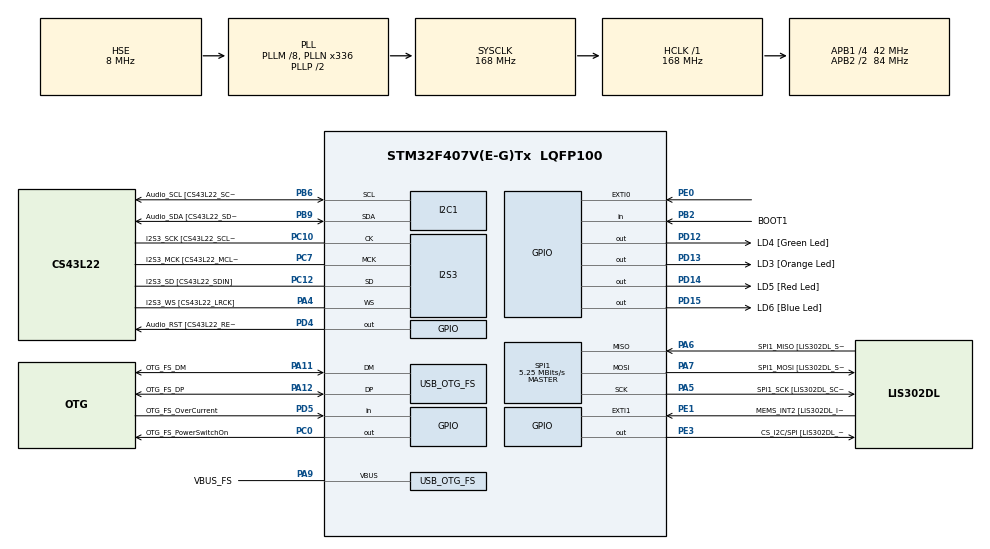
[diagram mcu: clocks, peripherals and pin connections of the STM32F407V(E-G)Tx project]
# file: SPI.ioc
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I2S3.AudioFreq-Half_Duplex_Master=I2S_AUDIOFREQ_96K
I2S3.ErrorAudioFreq=-2.34 %
I2S3.ErrorAudioFreq-Half_Duplex_Master=0.8 %
I2S3.FullDuplexMode=I2S_FULLDUPLEXMODE_DISABLE
I2S3.Instance=SPI$Index
I2S3.RealAudioFreq=93.75 KHz
I2S3.RealAudioFreq-Half_Duplex_Master=96.774 KHz
I2S3.VirtualMode=I2S_MODE_MASTER
Mcu.Family=STM32F4
Mcu.Name=STM32F407V(E-G)Tx
Mcu.Package=LQFP100
NVIC.EXTI0_IRQn=true\:0\:0\:false\:false\:true\:true\:true\:true
NVIC.OTG_FS_IRQn=true\:0\:0\:false\:false\:true\:true\:true\:true
NVIC.PriorityGroup=NVIC_PRIORITYGROUP_0
NVIC.SPI1_IRQn=true\:0\:0\:false\:false\:true\:true\:true\:true
PA10.GPIO_Label=OTG_FS_ID
PA10.GPIO_Mode=GPIO_MODE_AF_PP
PA10.GPIO_PuPd=GPIO_NOPULL
PA10.GPIO_Speed=GPIO_SPEED_FREQ_LOW
PA10.Signal=USB_OTG_FS_ID
PA11.GPIO_Label=OTG_FS_DM
PA11.GPIO_Mode=GPIO_MODE_AF_PP
PA11.GPIO_PuPd=GPIO_NOPULL
PA11.GPIO_Speed=GPIO_SPEED_FREQ_LOW
PA11.Mode=Host_Only
PA11.Signal=USB_OTG_FS_DM
PA12.GPIO_Label=OTG_FS_DP
PA12.GPIO_Mode=GPIO_MODE_AF_PP
PA12.GPIO_PuPd=GPIO_NOPULL
PA12.GPIO_Speed=GPIO_SPEED_FREQ_LOW
PA12.Mode=Host_Only
PA12.Signal=USB_OTG_FS_DP
PA13.GPIO_Label=SWDIO
PA13.Mode=Serial_Wire
PA13.Signal=SYS_JTMS-SWDIO
PA14.GPIO_Label=SWCLK
PA14.Mode=Serial_Wire
PA14.Signal=SYS_JTCK-SWCLK
PA4.GPIO_Label=I2S3_WS [CS43L22_LRCK]
PA4.GPIO_Mode=GPIO_MODE_AF_PP
PA4.GPIO_PuPd=GPIO_NOPULL
PA4.GPIO_Speed=GPIO_SPEED_FREQ_LOW
PA4.Mode=Half_Duplex_Master
PA4.Signal=I2S3_WS
PA5.GPIO_Label=SPI1_SCK [LIS302DL_SCL/SPC]
PA5.GPIO_Mode=GPIO_MODE_AF_PP
PA5.GPIO_PuPd=GPIO_NOPULL
PA5.GPIO_Speed=GPIO_SPEED_FREQ_LOW
PA5.Mode=Full_Duplex_Master
PA5.Signal=SPI1_SCK
PA6.GPIO_Label=SPI1_MISO [LIS302DL_SDO]
PA6.GPIO_Mode=GPIO_MODE_AF_PP
PA6.GPIO_PuPd=GPIO_NOPULL
PA6.GPIO_Speed=GPIO_SPEED_FREQ_LOW
PA6.Mode=Full_Duplex_Master
PA6.Signal=SPI1_MISO
PA7.GPIO_Label=SPI1_MOSI [LIS302DL_SDA/SDI/SDO]
PA7.GPIO_Mode=GPIO_MODE_AF_PP
PA7.GPIO_PuPd=GPIO_NOPULL
PA7.GPIO_Speed=GPIO_SPEED_FREQ_LOW
PA7.Mode=Full_Duplex_Master
PA7.Signal=SPI1_MOSI
PA9.GPIO_Label=VBUS_FS
PA9.GPIO_Mode=GPIO_MODE_INPUT
PA9.GPIO_PuPd=GPIO_NOPULL
PA9.Mode=Activate_VBUS
PA9.Signal=USB_OTG_FS_VBUS
PB10.GPIO_Label=CLK_IN [MP45DT02_CLK]
PB10.GPIO_Mode=GPIO_MODE_AF_PP
PB10.GPIO_PuPd=GPIO_NOPULL
PB10.GPIO_Speed=GPIO_SPEED_FREQ_LOW
PB10.Signal=I2S2_CK
PB2.GPIO_Label=BOOT1
PB2.GPIO_Mode=GPIO_MODE_INPUT
PB2.GPIO_PuPd=GPIO_NOPULL
PB2.Signal=GPIO_Input
PB3.GPIO_Label=SWO
PB3.Signal=SYS_JTDO-SWO
PB6.GPIO_Label=Audio_SCL [CS43L22_SCL]
PB6.GPIO_Mode=GPIO_MODE_AF_OD
PB6.GPIO_Pu=GPIO_PULLUP
PB6.GPIO_PuPd=GPIO_NOPULL
PB6.GPIO_Speed=GPIO_SPEED_FREQ_LOW
PB6.Mode=I2C
PB6.Signal=I2C1_SCL
PB9.GPIO_Label=Audio_SDA [CS43L22_SDA]
PB9.GPIO_Mode=GPIO_MODE_AF_OD
PB9.GPIO_Pu=GPIO_PULLUP
PB9.GPIO_PuPd=GPIO_NOPULL
PB9.GPIO_Speed=GPIO_SPEED_FREQ_LOW
PB9.Mode=I2C
PB9.Signal=I2C1_SDA
PC0.GPIO_Label=OTG_FS_PowerSwitchOn
PC0.GPIO_PuPd=GPIO_NOPULL
PC0.GPIO_Speed=GPIO_SPEED_FREQ_LOW
PC0.PinState=GPIO_PIN_SET
PC0.Signal=GPIO_Output
PC10.GPIO_Label=I2S3_SCK [CS43L22_SCLK]
PC10.GPIO_Mode=GPIO_MODE_AF_PP
PC10.GPIO_PuPd=GPIO_NOPULL
PC10.GPIO_Speed=GPIO_SPEED_FREQ_LOW
PC10.Mode=Half_Duplex_Master
PC10.Signal=I2S3_CK
PC12.GPIO_Label=I2S3_SD [CS43L22_SDIN]
PC12.GPIO_Mode=GPIO_MODE_AF_PP
PC12.GPIO_PuPd=GPIO_NOPULL
PC12.GPIO_Speed=GPIO_SPEED_FREQ_LOW
PC12.Mode=Half_Duplex_Master
PC12.Signal=I2S3_SD
PC14-OSC32_IN.GPIO_Label=PC14-OSC32_IN
PC14-OSC32_IN.Mode=LSE-External-Oscillator
PC14-OSC32_IN.Signal=RCC_OSC32_IN
PC15-OSC32_OUT.GPIO_Label=PC15-OSC32_OUT
PC15-OSC32_OUT.Mode=LSE-External-Oscillator
PC15-OSC32_OUT.Signal=RCC_OSC32_OUT
PC3.GPIO_Label=PDM_OUT [MP45DT02_DOUT]
PC3.GPIO_Mode=GPIO_MODE_AF_PP
PC3.GPIO_PuPd=GPIO_NOPULL
PC3.GPIO_Speed=GPIO_SPEED_FREQ_LOW
PC3.Signal=I2S2_SD
PC7.GPIO_Label=I2S3_MCK [CS43L22_MCLK]
PC7.GPIO_Mode=GPIO_MODE_AF_PP
PC7.GPIO_PuPd=GPIO_NOPULL
PC7.GPIO_Speed=GPIO_SPEED_FREQ_LOW
PC7.Mode=Master_Clock_Activated
PC7.Signal=I2S3_MCK
PD12.GPIO_Label=LD4 [Green Led]
PD12.GPIO_PuPd=GPIO_NOPULL
PD12.GPIO_Speed=GPIO_SPEED_FREQ_LOW
PD12.Signal=GPIO_Output
PD13.GPIO_Label=LD3 [Orange Led]
PD13.GPIO_PuPd=GPIO_NOPULL
PD13.GPIO_Speed=GPIO_SPEED_FREQ_LOW
PD13.Signal=GPIO_Output
PD14.GPIO_Label=LD5 [Red Led]
PD14.GPIO_PuPd=GPIO_NOPULL
PD14.GPIO_Speed=GPIO_SPEED_FREQ_LOW
PD14.Signal=GPIO_Output
PD15.GPIO_Label=LD6 [Blue Led]
PD15.GPIO_PuPd=GPIO_NOPULL
PD15.GPIO_Speed=GPIO_SPEED_FREQ_LOW
PD15.Signal=GPIO_Output
PD4.GPIO_Label=Audio_RST [CS43L22_RESET]
PD4.GPIO_PuPd=GPIO_NOPULL
PD4.GPIO_Speed=GPIO_SPEED_FREQ_LOW
PD4.Signal=GPIO_Output
PD5.GPIO_Label=OTG_FS_OverCurrent
PD5.GPIO_Mode=GPIO_MODE_INPUT
PD5.GPIO_PuPd=GPIO_NOPULL
PD5.Signal=GPIO_Input
PE0.Signal=GPXTI0
PE1.GPIO_Label=MEMS_INT2 [LIS302DL_INT2]
PE1.GPIO_ModeDefaultEXTI=GPIO_MODE_EVT_RISING
PE1.GPIO_PuPd=GPIO_NOPULL
PE1.Signal=GPXTI1
PE3.GPIO_Label=CS_I2C/SPI [LIS302DL_CS_I2C/SPI]
PE3.GPIO_PuPd=GPIO_NOPULL
PE3.GPIO_Speed=GPIO_SPEED_FREQ_LOW
PE3.PinState=GPIO_PIN_SET
PE3.Signal=GPIO_Output
PH0-OSC_IN.GPIO_Label=PH0-OSC_IN
PH0-OSC_IN.Mode=HSE-External-Oscillator
PH0-OSC_IN.Signal=RCC_OSC_IN
PH1-OSC_OUT.GPIO_Label=PH1-OSC_OUT
PH1-OSC_OUT.Mode=HSE-External-Oscillator
PH1-OSC_OUT.Signal=RCC_OSC_OUT
ProjectManager.HeapSize=0x200
ProjectManager.StackSize=0x400
ProjectManager.TargetToolchain=STM32CubeIDE
RCC.48MHZClocksFreq_Value=48000000
RCC.AHBFreq_Value=168000000
RCC.APB1CLKDivider=RCC_HCLK_DIV4
RCC.APB1Freq_Value=42000000
RCC.APB1TimFreq_Value=84000000
RCC.APB2CLKDivider=RCC_HCLK_DIV2
RCC.APB2Freq_Value=84000000
RCC.APB2TimFreq_Value=168000000
RCC.CortexFreq_Value=168000000
RCC.HCLKFreq_Value=168000000
RCC.HSE_VALUE=8000000
RCC.HSI_VALUE=16000000
RCC.PLLM=8
RCC.PLLN=336
RCC.PLLQ=7
RCC.SYSCLKFreq_VALUE=168000000
RCC.SYSCLKSource=RCC_SYSCLKSOURCE_PLLCLK
RCC.VCOOutputFreq_Value=336000000
SPI1.BaudRatePrescaler=SPI_BAUDRATEPRESCALER_16
SPI1.CalculateBaudRate=5.25 MBits/s
SPI1.Direction=SPI_DIRECTION_2LINES
SPI1.Mode=SPI_MODE_MASTER
SPI1.VirtualType=VM_MASTER
USB_HOST.BSP.number=1
USB_HOST.USBH_HandleTypeDef-CDC_FS=hUsbHostFS
USB_HOST.VirtualModeFS=Cdc
USB_HOST0.BSP.STBoard=false
USB_HOST0.BSP.api=Unknown
USB_HOST0.BSP.instance=PC0
USB_HOST0.BSP.ip=GPIO
USB_HOST0.BSP.mode=Output
USB_HOST0.BSP.name=Drive_VBUS_FS
USB_HOST0.BSP.solution=PC0
USB_OTG_FS.VirtualMode=Host_Only
USB_OTG_FS.phy_itface=HCD_PHY_EMBEDDED
VP_USB_HOST_VS_USB_HOST_CDC_FS.Mode=CDC_FS
board=STM32F407G-DISC1

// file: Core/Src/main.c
/* USER CODE BEGIN Header */
/**
  ******************************************************************************
  * @file           : main.c
  * @brief          : Main program body
  ******************************************************************************
  * @attention
  *
  * Copyright (c) 2025 STMicroelectronics.
  * All rights reserved.
  *
  * This software is licensed under terms that can be found in the LICENSE file
  * in the root directory of this software component.
  * If no LICENSE file comes with this software, it is provided AS-IS.
  *
  ******************************************************************************
  */
/* USER CODE END Header */
#include "main.h"
#include "usb_host.h"

I2C_HandleTypeDef hi2c1;

I2S_HandleTypeDef hi2s3;

SPI_HandleTypeDef hspi1;

uint8_t buffer=0;
uint8_t g_data[1];

int16_t data_X = 0;
int16_t data_Y = 0;
int16_t data_Z = 0;

int16_t angleX;
int16_t angleY;
int16_t angleZ;
uint8_t flag = 0U;

void SystemClock_Config(void);
static void MX_GPIO_Init(void);
static void MX_I2C1_Init(void);
static void MX_I2S3_Init(void);
static void MX_SPI1_Init(void);
void MX_USB_HOST_Process(void);

/* USER CODE BEGIN 0 */

void write_acc(uint8_t address, uint8_t data){

	uint8_t dta_adres[2];
	dta_adres[0] = address;
	dta_adres[1] = data;

	HAL_GPIO_WritePin(GPIOE, GPIO_PIN_3, GPIO_PIN_RESET);
	HAL_SPI_Transmit(&hspi1, dta_adres, 2, 50);
	HAL_GPIO_WritePin(GPIOE, GPIO_PIN_3, GPIO_PIN_SET);

}

uint8_t read_acc(uint8_t address){

	uint8_t dta_adres[1];
	dta_adres[0] = address | 0x80; //0x80 -> binary olarak 1000 0000 1.biti 1 yaptık. Okuma yapabilmek için.
	HAL_GPIO_WritePin(GPIOE, GPIO_PIN_3, GPIO_PIN_RESET);
	HAL_SPI_Transmit(&hspi1, dta_adres, 1, 50);
	HAL_SPI_Receive(&hspi1, g_data, 1, 50);
	HAL_GPIO_WritePin(GPIOE, GPIO_PIN_3, GPIO_PIN_SET);
	return g_data[0];

}

float raw_to_angle(uint8_t angle){

	if (angle<=30){

		return (float)angle*(90.0f/30.0f);
	}
	else if (angle>=225){

		return (float)(angle-255)*(90.0f/30.0f);
	}

	else{

		return 0.0f;
	}
}

/* USER CODE END 0 */

int main(void)
{

  /* MCU Configuration--------------------------------------------------------*/

  /* Reset of all peripherals, Initializes the Flash interface and the Systick. */
  HAL_Init();

  /* Configure the system clock */
  SystemClock_Config();

  /* Initialize all configured peripherals */
  MX_GPIO_Init();
  MX_I2C1_Init();
  MX_I2S3_Init();
  MX_SPI1_Init();
  MX_USB_HOST_Init();
  /* USER CODE BEGIN 2 */
  write_acc(0x20, 0x47);  // Sensörün çalışmasını başlattık
 // buffer = read_acc(0x20);

  write_acc(0x23, 0x88); // Interrupt ayarını yaptık.
  buffer = read_acc(0x23);

  write_acc(0x24,0x88);

  /* USER CODE END 2 */

  /* Infinite loop */
  while (1)
  {
    MX_USB_HOST_Process();

    if(flag == 1U)
    {
    	flag = 0;
		if(angleX>5.0 && angleX<85.0){

			HAL_GPIO_WritePin(LD5_GPIO_Port, LD5_Pin, 1);
			HAL_GPIO_WritePin(LD3_GPIO_Port, LD3_Pin, 0);
			HAL_GPIO_WritePin(LD4_GPIO_Port, LD4_Pin, 0);
			HAL_GPIO_WritePin(LD6_GPIO_Port, LD6_Pin, 0);
		}
		else if(-5.0>angleX && angleX>-85.0 ){

			HAL_GPIO_WritePin(LD5_GPIO_Port, LD5_Pin, 0);
			HAL_GPIO_WritePin(LD3_GPIO_Port, LD3_Pin, 0);
			HAL_GPIO_WritePin(LD4_GPIO_Port, LD4_Pin, 1);
			HAL_GPIO_WritePin(LD6_GPIO_Port, LD6_Pin, 0);

		}
		else if(angleY>5.0 && angleY<85.0){

			HAL_GPIO_WritePin(LD5_GPIO_Port, LD5_Pin, 0);
			HAL_GPIO_WritePin(LD3_GPIO_Port, LD3_Pin, 1);
			HAL_GPIO_WritePin(LD4_GPIO_Port, LD4_Pin, 0);
			HAL_GPIO_WritePin(LD6_GPIO_Port, LD6_Pin, 0);
		}
		else if(-5.0>angleY && angleY>-85.0 ){

			HAL_GPIO_WritePin(LD5_GPIO_Port, LD5_Pin, 0);
			HAL_GPIO_WritePin(LD3_GPIO_Port, LD3_Pin, 0);
			HAL_GPIO_WritePin(LD4_GPIO_Port, LD4_Pin, 0);
			HAL_GPIO_WritePin(LD6_GPIO_Port, LD6_Pin, 1);
		}
		else{
			HAL_GPIO_WritePin(LD5_GPIO_Port, LD5_Pin, 0);
			HAL_GPIO_WritePin(LD3_GPIO_Port, LD3_Pin, 0);
			HAL_GPIO_WritePin(LD4_GPIO_Port, LD4_Pin, 0);
			HAL_GPIO_WritePin(LD6_GPIO_Port, LD6_Pin, 0);
		}

    }

  }
}

void SystemClock_Config(void)
{
  RCC_OscInitTypeDef RCC_OscInitStruct = {0};
  RCC_ClkInitTypeDef RCC_ClkInitStruct = {0};

  /** Configure the main internal regulator output voltage
  */
  __HAL_RCC_PWR_CLK_ENABLE();
  __HAL_PWR_VOLTAGESCALING_CONFIG(PWR_REGULATOR_VOLTAGE_SCALE1);

  /** Initializes the RCC Oscillators according to the specified parameters
  * in the RCC_OscInitTypeDef structure.
  */
  RCC_OscInitStruct.OscillatorType = RCC_OSCILLATORTYPE_HSE;
  RCC_OscInitStruct.HSEState = RCC_HSE_ON;
  RCC_OscInitStruct.PLL.PLLState = RCC_PLL_ON;
  RCC_OscInitStruct.PLL.PLLSource = RCC_PLLSOURCE_HSE;
  RCC_OscInitStruct.PLL.PLLM = 8;
  RCC_OscInitStruct.PLL.PLLN = 336;
  RCC_OscInitStruct.PLL.PLLP = RCC_PLLP_DIV2;
  RCC_OscInitStruct.PLL.PLLQ = 7;
  if (HAL_RCC_OscConfig(&RCC_OscInitStruct) != HAL_OK)
  {
    Error_Handler();
  }

  /** Initializes the CPU, AHB and APB buses clocks
  */
  RCC_ClkInitStruct.ClockType = RCC_CLOCKTYPE_HCLK|RCC_CLOCKTYPE_SYSCLK
                              |RCC_CLOCKTYPE_PCLK1|RCC_CLOCKTYPE_PCLK2;
  RCC_ClkInitStruct.SYSCLKSource = RCC_SYSCLKSOURCE_PLLCLK;
  RCC_ClkInitStruct.AHBCLKDivider = RCC_SYSCLK_DIV1;
  RCC_ClkInitStruct.APB1CLKDivider = RCC_HCLK_DIV4;
  RCC_ClkInitStruct.APB2CLKDivider = RCC_HCLK_DIV2;

  if (HAL_RCC_ClockConfig(&RCC_ClkInitStruct, FLASH_LATENCY_5) != HAL_OK)
  {
    Error_Handler();
  }
}

static void MX_I2C1_Init(void)
{

  hi2c1.Instance = I2C1;
  hi2c1.Init.ClockSpeed = 100000;
  hi2c1.Init.DutyCycle = I2C_DUTYCYCLE_2;
  hi2c1.Init.OwnAddress1 = 0;
  hi2c1.Init.AddressingMode = I2C_ADDRESSINGMODE_7BIT;
  hi2c1.Init.DualAddressMode = I2C_DUALADDRESS_DISABLE;
  hi2c1.Init.OwnAddress2 = 0;
  hi2c1.Init.GeneralCallMode = I2C_GENERALCALL_DISABLE;
  hi2c1.Init.NoStretchMode = I2C_NOSTRETCH_DISABLE;
  if (HAL_I2C_Init(&hi2c1) != HAL_OK)
  {
    Error_Handler();
  }

}

static void MX_I2S3_Init(void)
{

  hi2s3.Instance = SPI3;
  hi2s3.Init.Mode = I2S_MODE_MASTER_TX;
  hi2s3.Init.Standard = I2S_STANDARD_PHILIPS;
  hi2s3.Init.DataFormat = I2S_DATAFORMAT_16B;
  hi2s3.Init.MCLKOutput = I2S_MCLKOUTPUT_ENABLE;
  hi2s3.Init.AudioFreq = I2S_AUDIOFREQ_96K;
  hi2s3.Init.CPOL = I2S_CPOL_LOW;
  hi2s3.Init.ClockSource = I2S_CLOCK_PLL;
  hi2s3.Init.FullDuplexMode = I2S_FULLDUPLEXMODE_DISABLE;
  if (HAL_I2S_Init(&hi2s3) != HAL_OK)
  {
    Error_Handler();
  }

}

static void MX_SPI1_Init(void)
{

  /* SPI1 parameter configuration*/
  hspi1.Instance = SPI1;
  hspi1.Init.Mode = SPI_MODE_MASTER;
  hspi1.Init.Direction = SPI_DIRECTION_2LINES;
  hspi1.Init.DataSize = SPI_DATASIZE_8BIT;
  hspi1.Init.CLKPolarity = SPI_POLARITY_LOW;
  hspi1.Init.CLKPhase = SPI_PHASE_1EDGE;
  hspi1.Init.NSS = SPI_NSS_SOFT;
  hspi1.Init.BaudRatePrescaler = SPI_BAUDRATEPRESCALER_16;
  hspi1.Init.FirstBit = SPI_FIRSTBIT_MSB;
  hspi1.Init.TIMode = SPI_TIMODE_DISABLE;
  hspi1.Init.CRCCalculation = SPI_CRCCALCULATION_DISABLE;
  hspi1.Init.CRCPolynomial = 10;
  if (HAL_SPI_Init(&hspi1) != HAL_OK)
  {
    Error_Handler();
  }

}

static void MX_GPIO_Init(void)
{
  GPIO_InitTypeDef GPIO_InitStruct = {0};

  /* GPIO Ports Clock Enable */
  __HAL_RCC_GPIOE_CLK_ENABLE();
  __HAL_RCC_GPIOC_CLK_ENABLE();
  __HAL_RCC_GPIOH_CLK_ENABLE();
  __HAL_RCC_GPIOA_CLK_ENABLE();
  __HAL_RCC_GPIOB_CLK_ENABLE();
  __HAL_RCC_GPIOD_CLK_ENABLE();

  /*Configure GPIO pin Output Level */
  HAL_GPIO_WritePin(CS_I2C_SPI_GPIO_Port, CS_I2C_SPI_Pin, GPIO_PIN_SET);

  /*Configure GPIO pin Output Level */
  HAL_GPIO_WritePin(OTG_FS_PowerSwitchOn_GPIO_Port, OTG_FS_PowerSwitchOn_Pin, GPIO_PIN_SET);

  /*Configure GPIO pin Output Level */
  HAL_GPIO_WritePin(GPIOD, LD4_Pin|LD3_Pin|LD5_Pin|LD6_Pin
                          |Audio_RST_Pin, GPIO_PIN_RESET);

  /*Configure GPIO pin : CS_I2C_SPI_Pin */
  GPIO_InitStruct.Pin = CS_I2C_SPI_Pin;
  GPIO_InitStruct.Mode = GPIO_MODE_OUTPUT_PP;
  GPIO_InitStruct.Pull = GPIO_NOPULL;
  GPIO_InitStruct.Speed = GPIO_SPEED_FREQ_LOW;
  HAL_GPIO_Init(CS_I2C_SPI_GPIO_Port, &GPIO_InitStruct);

  /*Configure GPIO pin : OTG_FS_PowerSwitchOn_Pin */
  GPIO_InitStruct.Pin = OTG_FS_PowerSwitchOn_Pin;
  GPIO_InitStruct.Mode = GPIO_MODE_OUTPUT_PP;
  GPIO_InitStruct.Pull = GPIO_NOPULL;
  GPIO_InitStruct.Speed = GPIO_SPEED_FREQ_LOW;
  HAL_GPIO_Init(OTG_FS_PowerSwitchOn_GPIO_Port, &GPIO_InitStruct);

  /*Configure GPIO pin : PDM_OUT_Pin */
  GPIO_InitStruct.Pin = PDM_OUT_Pin;
  GPIO_InitStruct.Mode = GPIO_MODE_AF_PP;
  GPIO_InitStruct.Pull = GPIO_NOPULL;
  GPIO_InitStruct.Speed = GPIO_SPEED_FREQ_LOW;
  GPIO_InitStruct.Alternate = GPIO_AF5_SPI2;
  HAL_GPIO_Init(PDM_OUT_GPIO_Port, &GPIO_InitStruct);

  /*Configure GPIO pin : BOOT1_Pin */
  GPIO_InitStruct.Pin = BOOT1_Pin;
  GPIO_InitStruct.Mode = GPIO_MODE_INPUT;
  GPIO_InitStruct.Pull = GPIO_NOPULL;
  HAL_GPIO_Init(BOOT1_GPIO_Port, &GPIO_InitStruct);

  /*Configure GPIO pin : CLK_IN_Pin */
  GPIO_InitStruct.Pin = CLK_IN_Pin;
  GPIO_InitStruct.Mode = GPIO_MODE_AF_PP;
  GPIO_InitStruct.Pull = GPIO_NOPULL;
  GPIO_InitStruct.Speed = GPIO_SPEED_FREQ_LOW;
  GPIO_InitStruct.Alternate = GPIO_AF5_SPI2;
  HAL_GPIO_Init(CLK_IN_GPIO_Port, &GPIO_InitStruct);

  /*Configure GPIO pins : LD4_Pin LD3_Pin LD5_Pin LD6_Pin
                           Audio_RST_Pin */
  GPIO_InitStruct.Pin = LD4_Pin|LD3_Pin|LD5_Pin|LD6_Pin
                          |Audio_RST_Pin;
  GPIO_InitStruct.Mode = GPIO_MODE_OUTPUT_PP;
  GPIO_InitStruct.Pull = GPIO_NOPULL;
  GPIO_InitStruct.Speed = GPIO_SPEED_FREQ_LOW;
  HAL_GPIO_Init(GPIOD, &GPIO_InitStruct);

  /*Configure GPIO pin : OTG_FS_OverCurrent_Pin */
  GPIO_InitStruct.Pin = OTG_FS_OverCurrent_Pin;
  GPIO_InitStruct.Mode = GPIO_MODE_INPUT;
  GPIO_InitStruct.Pull = GPIO_NOPULL;
  HAL_GPIO_Init(OTG_FS_OverCurrent_GPIO_Port, &GPIO_InitStruct);

  /*Configure GPIO pin : PE0 */
  GPIO_InitStruct.Pin = GPIO_PIN_0;
  GPIO_InitStruct.Mode = GPIO_MODE_IT_RISING;
  GPIO_InitStruct.Pull = GPIO_NOPULL;
  HAL_GPIO_Init(GPIOE, &GPIO_InitStruct);

  /*Configure GPIO pin : MEMS_INT2_Pin */
  GPIO_InitStruct.Pin = MEMS_INT2_Pin;
  GPIO_InitStruct.Mode = GPIO_MODE_EVT_RISING;
  GPIO_InitStruct.Pull = GPIO_NOPULL;
  HAL_GPIO_Init(MEMS_INT2_GPIO_Port, &GPIO_InitStruct);

  /* EXTI interrupt init*/
  HAL_NVIC_SetPriority(EXTI0_IRQn, 0, 0);
  HAL_NVIC_EnableIRQ(EXTI0_IRQn);

}

/* USER CODE BEGIN 4 */

void HAL_GPIO_EXTI_Callback(uint16_t GPIO_Pin){

    data_X = (int16_t)read_acc(0x29) ;
    data_Y = (int16_t)read_acc(0x2B) ;
    data_Z = (int16_t)read_acc(0x2D) ;

    angleX = raw_to_angle(data_X);
    angleY = raw_to_angle(data_Y);
    angleZ = raw_to_angle(data_Z);

    flag = 1U;

}

/* USER CODE END 4 */

void Error_Handler(void)
{
  __disable_irq();
  while (1)
  {
  }
}
